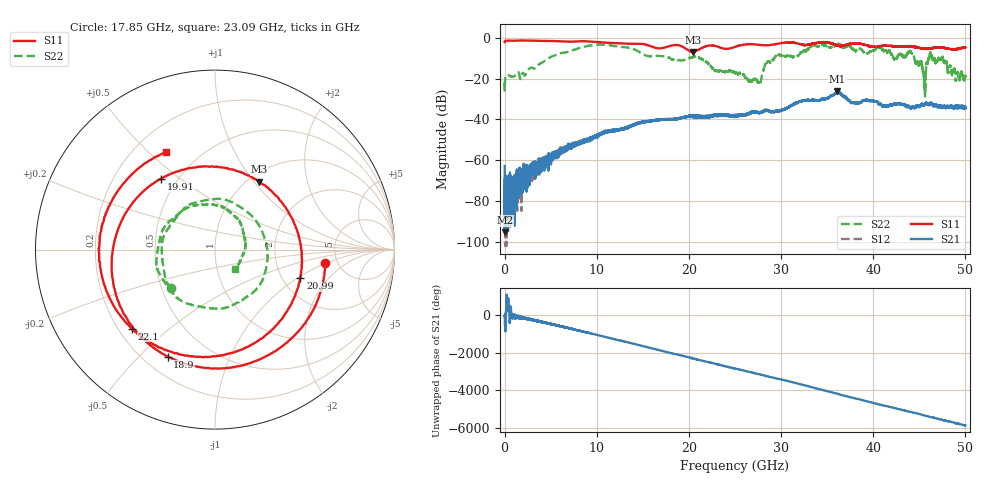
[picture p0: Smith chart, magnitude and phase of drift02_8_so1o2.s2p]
!Created with skrf (http://scikit-rf.org).
# Hz S RI R 50.0
!freq ReS11 ImS11 ReS21 ImS21 ReS12 ImS12 ReS22 ImS22
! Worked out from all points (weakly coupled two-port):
!   10001 points, 300 kHz to 50 GHz, reference 50 ohm
!   highest |S21| = -26.28 dB at 36.12 GHz (marker M1); lowest = -95.4 dB at 15.3 MHz (marker M2)
!   lowest |S11| = -6.9 dB at 20.41 GHz (marker M3), VSWR 2.64, Z = 55.9 + j53 ohm
!   |S11| at or under -10 dB: nowhere
!   |S22| runs from -28.8 to -2.8 dB; largest |S21 - S12| = 0.0045
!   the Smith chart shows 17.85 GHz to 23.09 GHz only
!   S11 on the Smith chart (normalised r, x): 17.85 GHz: 3.99, -0.95; 18.9 GHz: 0.29, -0.61; 19.91 GHz: 0.41, +0.43; 20.99 GHz: 2.49, -1.06; 22.1 GHz: 0.25, -0.38; 23.09 GHz: 0.33, +0.57
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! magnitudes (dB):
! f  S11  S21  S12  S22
! 300 kHz  -2.1  -62.9  -69.4  -22.1
! 15.3 MHz  -2.0  -95.4  -69.2  -24.8
! 295.3 MHz  -1.4  -75.1  -80.7  -18.2
! 8.335 GHz  -1.7  -51.2  -51.1  -4.8
! 16.67 GHz  -5.2  -40.3  -40.5  -8.9
! 17.85 GHz  -4.2  -40.1  -40.0  -9.7
! 18.9 GHz  -3.7  -39.6  -39.6  -11.0
! 19.91 GHz  -6.1  -38.6  -38.6  -9.9
! 20.41 GHz  -6.9  -38.0  -38.2  -9.7
! 20.99 GHz  -6.0  -38.9  -38.7  -9.4
! 22.1 GHz  -3.9  -39.4  -38.4  -12.7
! 23.09 GHz  -4.3  -38.0  -38.0  -16.1
! 25 GHz  -4.5  -38.0  -38.5  -17.4
! 27.61 GHz  -3.5  -36.9  -36.7  -22.0
! 29.53 GHz  -3.1  -35.8  -35.8  -8.7
! 33.34 GHz  -3.0  -30.7  -30.5  -3.8
! 36.12 GHz  -3.9  -26.3  -26.9  -3.2
! 41.67 GHz  -4.0  -33.2  -33.4  -6.3
! 44.12 GHz  -4.2  -34.5  -34.5  -7.2
! 45.51 GHz  -5.3  -32.9  -33.2  -18.4
! 46.25 GHz  -5.2  -32.4  -32.3  -7.8
! 50 GHz  -4.8  -34.6  -34.6  -18.9
